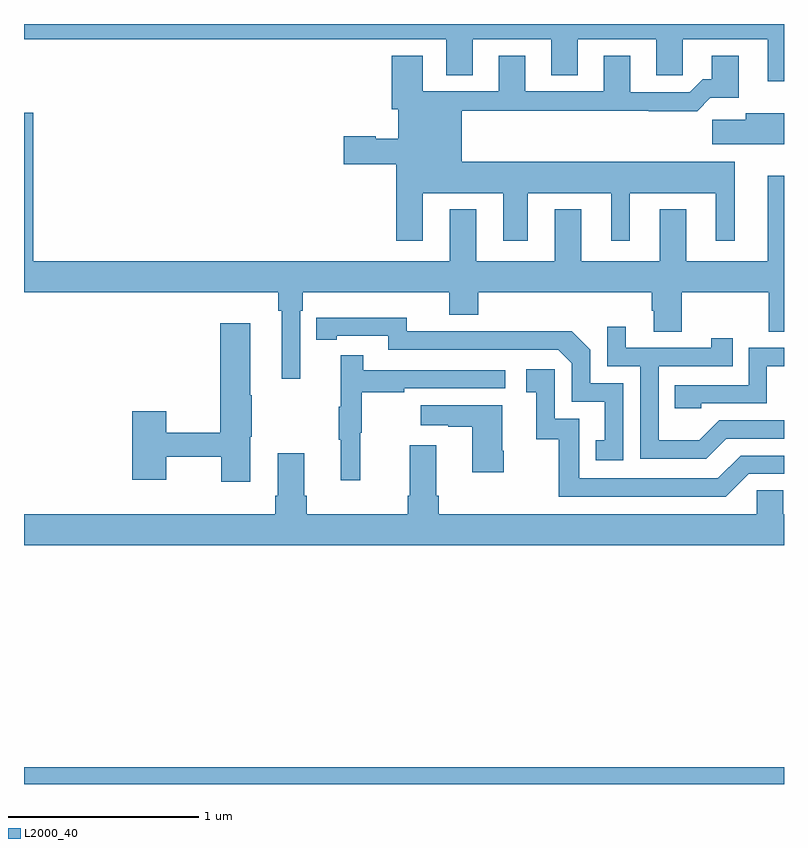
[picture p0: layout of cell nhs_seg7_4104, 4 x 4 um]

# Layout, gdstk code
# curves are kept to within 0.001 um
import gdstk
lib = gdstk.Library(unit=1e-6, precision=1e-09)
def R(c, l, rs):  # rectangles x0, y0, x1, y1
    for r in rs: c.add(gdstk.rectangle(r[:2], r[2:], *l))
def P(c, l, *ps):  # polygons
    for p in ps: c.add(gdstk.Polygon(p, *l))
L2000_40 = (2000, 40)

nhs_seg7_4104 = lib.new_cell('nhs_seg7_4104')
R(nhs_seg7_4104, L2000_40, [(371,1026,375,1026.088)])
P(nhs_seg7_4104, L2000_40, [(375,1030),(371,1030),(371,1029.92),(373.223,1029.92),(373.223,1029.73),(373.363,1029.73),(373.363,1029.92),(373.775,1029.92),(373.775,1029.73),(373.915,1029.73),(373.915,1029.92),(374.327,1029.92),(374.327,1029.73),(374.466,1029.73),(374.466,1029.92),(374.915,1029.92),(374.915,1029.699),(375,1029.699)],
  [(373.099,1029.11),(373.523,1029.11),(373.523,1028.859),(373.651,1028.859),(373.651,1029.11),(374.09,1029.11),(374.09,1028.859),(374.188,1028.859),(374.188,1029.11),(374.642,1029.11),(374.642,1028.859),(374.74,1028.859),(374.74,1029.274),(373.303,1029.274),(373.303,1029.544),(374.287,1029.544),(374.287,1029.542),(374.543,1029.542),(374.612,1029.611),(374.761,1029.611),(374.761,1029.832),(374.621,1029.832),(374.621,1029.709),(374.572,1029.709),(374.505,1029.642),(374.191,1029.642),(374.191,1029.832),(374.051,1029.832),(374.051,1029.645),(373.639,1029.645),(373.639,1029.832),(373.499,1029.832),(373.499,1029.645),(373.099,1029.645),(373.099,1029.832),(372.935,1029.832),(372.935,1029.552),(372.971,1029.552),(372.971,1029.397),(372.851,1029.397),(372.851,1029.41),(372.684,1029.41),(372.684,1029.263),(372.959,1029.263),(372.959,1028.859),(373.099,1028.859)],
  [(374.303,1028.49),(374.315,1028.49),(374.315,1028.38),(374.463,1028.38),(374.463,1028.588),(374.92,1028.588),(374.92,1028.38),(375,1028.38),(375,1029.202),(374.915,1029.202),(374.915,1028.752),(374.485,1028.752),(374.485,1029.025),(374.345,1029.025),(374.345,1028.752),(373.933,1028.752),(373.933,1029.025),(373.793,1029.025),(373.793,1028.752),(373.381,1028.752),(373.381,1029.025),(373.241,1029.025),(373.241,1028.752),(371.048,1028.752),(371.048,1029.532),(371,1029.532),(371,1028.588),(372.337,1028.588),(372.337,1028.492),(372.356,1028.492),(372.356,1028.132),(372.453,1028.132),(372.453,1028.492),(372.467,1028.492),(372.467,1028.588),(373.238,1028.588),(373.238,1028.471),(373.391,1028.471),(373.391,1028.588),(374.303,1028.588)],
  [(375,1029.529),(374.798,1029.529),(374.798,1029.497),(374.622,1029.497),(374.622,1029.368),(375,1029.368)],
  [(374.154,1028.109),(373.98,1028.109),(373.98,1028.286),(373.882,1028.384),(373.474,1028.384),(373.474,1028.382),(373.014,1028.382),(373.014,1028.455),(372.538,1028.454),(372.538,1028.338),(372.646,1028.338),(372.646,1028.358),(372.918,1028.358),(372.918,1028.286),(373.812,1028.286),(373.884,1028.214),(373.884,1028.013),(374.057,1028.013),(374.057,1027.809),(374.008,1027.809),(374.008,1027.704),(374.154,1027.704)],
  [(372.19,1027.827),(372.198,1027.827),(372.198,1028.045),(372.19,1028.045),(372.19,1028.425),(372.032,1028.425),(372.032,1027.85),(371.748,1027.85),(371.748,1027.963),(371.57,1027.963),(371.57,1027.602),(371.748,1027.602),(371.748,1027.722),(372.037,1027.722),(372.037,1027.59),(372.19,1027.59)],
  [(374.695,1027.818),(375,1027.818),(375,1027.914),(374.658,1027.914),(374.554,1027.81),(374.34,1027.81),(374.34,1028.199),(374.729,1028.199),(374.729,1028.347),(374.618,1028.347),(374.618,1028.295),(374.167,1028.295),(374.167,1028.407),(374.07,1028.407),(374.07,1028.199),(374.244,1028.199),(374.244,1027.713),(374.59,1027.713)],
  [(374.565,1028.004),(374.91,1028.004),(374.91,1028.199),(375,1028.199),(375,1028.295),(374.814,1028.295),(374.814,1028.1),(374.425,1028.1),(374.425,1027.977),(374.565,1027.977)],
  [(372.77,1027.848),(372.778,1027.848),(372.778,1028.062),(373.001,1028.062),(373.001,1028.082),(373.534,1028.082),(373.534,1028.178),(372.785,1028.178),(372.785,1028.257),(372.668,1028.257),(372.668,1027.985),(372.657,1027.985),(372.657,1027.811),(372.668,1027.811),(372.668,1027.599),(372.77,1027.599)],
  [(374.814,1027.632),(375,1027.632),(375,1027.728),(374.772,1027.728),(374.652,1027.608),(373.923,1027.608),(373.923,1027.923),(373.794,1027.923),(373.794,1028.182),(373.644,1028.182),(373.644,1028.061),(373.697,1028.061),(373.697,1027.815),(373.815,1027.815),(373.815,1027.512),(374.694,1027.512)],
  [(373.524,1027.753),(373.516,1027.753),(373.516,1027.993),(373.089,1027.993),(373.089,1027.889),(373.232,1027.889),(373.232,1027.879),(373.358,1027.879),(373.358,1027.641),(373.524,1027.641)],
  [(375,1027.42),(374.995,1027.42),(374.995,1027.547),(374.856,1027.547),(374.856,1027.42),(373.184,1027.42),(373.184,1027.516),(373.171,1027.516),(373.171,1027.783),(373.031,1027.783),(373.031,1027.516),(373.019,1027.516),(373.019,1027.42),(372.488,1027.42),(372.488,1027.516),(372.475,1027.516),(372.475,1027.741),(372.335,1027.741),(372.335,1027.516),(372.323,1027.516),(372.323,1027.42),(371,1027.42),(371,1027.256),(375,1027.256)])

lib.write_gds('nhs_seg7_4104.gds')
